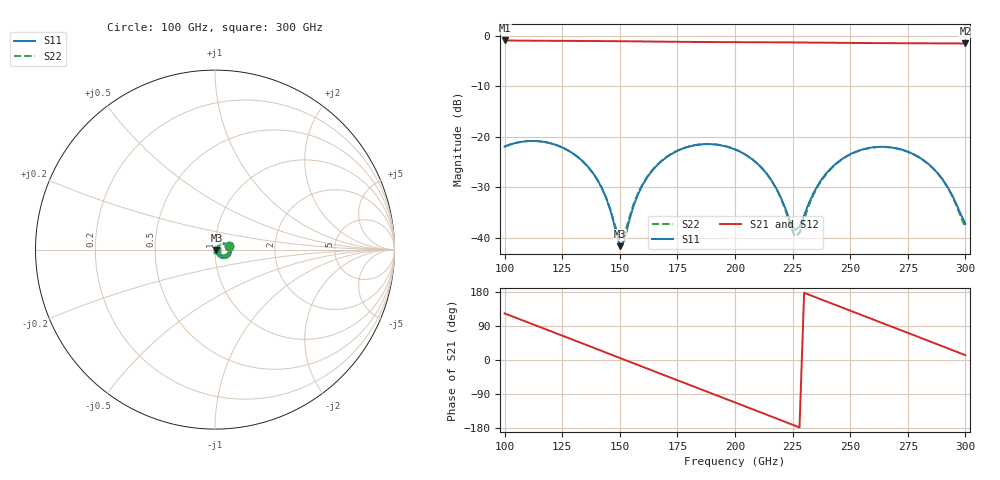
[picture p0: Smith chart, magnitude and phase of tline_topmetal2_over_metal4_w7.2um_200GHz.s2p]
#  GHZ S DB R 50
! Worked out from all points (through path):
!   101 points, 100 GHz to 300 GHz, reference 50 ohm
!   highest |S21| = -0.96 dB at 100 GHz (marker M1); lowest = -1.6 dB at 300 GHz (marker M2)
!   group delay of S21, straight-line fit = 6.53 ps
!   lowest |S11| = -41.7 dB at 150 GHz (marker M3), VSWR 1.02, Z = 50.8 - j0.306 ohm
!   |S11| at or under -10 dB: start of sweep to end of sweep
!   |S22| runs from -40.4 to -20.8 dB; largest |S21 - S12| = 1.5e-13
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100  -21.97 16.0  -0.96 123.0  -0.96 123.0  -21.95 15.8
116  -20.96 -16.9  -1.01 85.5  -1.01 85.5  -20.96 -16.9
134  -24.92 -52.7  -1.06 43.2  -1.06 43.2  -24.92 -52.0
144  -32.04 -64.2  -1.08 19.6  -1.08 19.6  -31.96 -61.6
150  -41.66 -21.4  -1.11 5.4  -1.11 5.4  -40.44 -18.2
152  -40.54 21.9  -1.12 0.7  -1.12 0.7  -39.41 18.7
158  -31.30 49.6  -1.14 -13.5  -1.14 -13.5  -31.08 46.6
168  -24.88 36.8  -1.19 -37.0  -1.19 -37.0  -24.81 35.0
184  -21.59 5.3  -1.26 -74.5  -1.26 -74.5  -21.55 3.9
200  -22.52 -26.8  -1.30 -112.0  -1.30 -112.0  -22.49 -28.4
216  -28.74 -51.5  -1.33 -149.6  -1.33 -149.6  -28.78 -54.5
226  -38.49 -9.9  -1.35 -173.2  -1.35 -173.2  -39.75 -13.3
228  -37.82 17.1  -1.36 -178.0  -1.36 -178.0  -39.02 18.7
234  -31.21 45.2  -1.38 167.9  -1.38 167.9  -31.51 47.8
240  -27.05 42.2  -1.40 153.8  -1.40 153.8  -27.18 43.8
248  -23.97 29.8  -1.43 135.0  -1.43 135.0  -24.04 30.7
258  -22.24 10.9  -1.47 111.5  -1.47 111.5  -22.28 11.5
268  -22.13 -8.7  -1.49 88.1  -1.49 88.1  -22.16 -8.4
278  -23.58 -27.6  -1.51 64.6  -1.51 64.6  -23.62 -27.6
288  -27.23 -42.9  -1.53 41.0  -1.53 41.0  -27.29 -43.5
294  -31.34 -44.5  -1.54 26.9  -1.54 26.9  -31.51 -46.0
300  -37.24 -15.6  -1.55 12.7  -1.55 12.7  -37.99 -17.1
